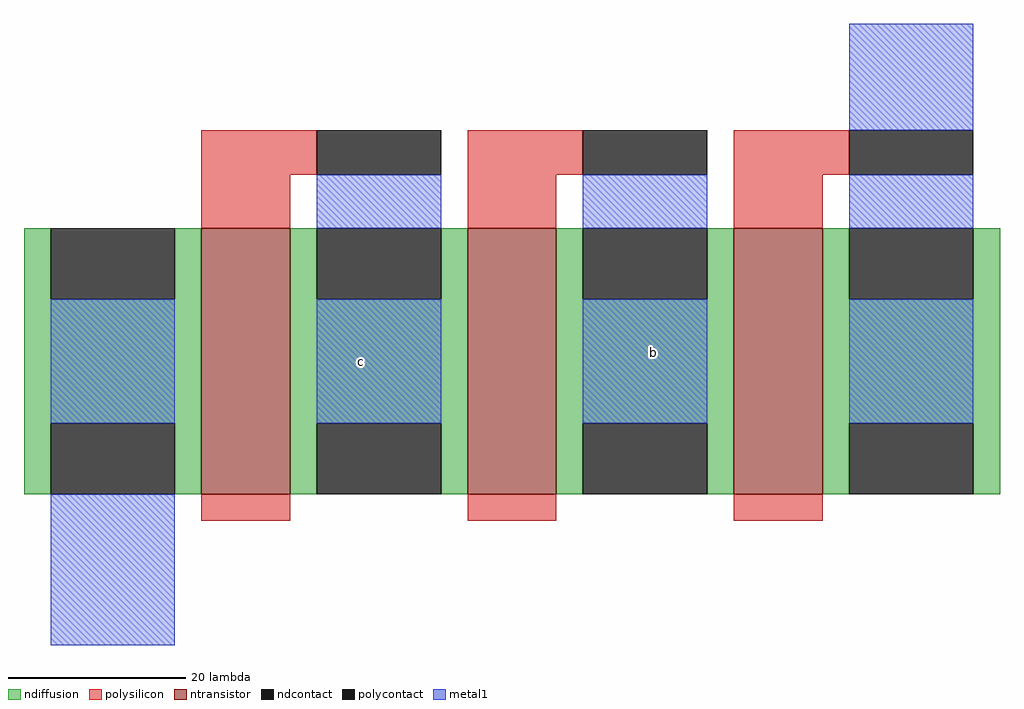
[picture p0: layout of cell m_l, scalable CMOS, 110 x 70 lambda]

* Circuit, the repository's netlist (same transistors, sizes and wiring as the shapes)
* SPICE3 file created from m_l.ext - technology: scmos

.option scale=0.1u

M1000 a_n417_n20# a_n417_n20# b w_n1073741817_n1073741817# nfet w=30 l=10
+  ad=600 pd=100 as=600 ps=100
M1001 b b c w_n1073741817_n1073741817# nfet w=30 l=10
+  ad=0 pd=0 as=600 ps=100
M1002 c c a_n497_n17# w_n1073741817_n1073741817# nfet w=30 l=10
+  ad=0 pd=0 as=600 ps=100

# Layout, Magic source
magic
tech scmos
<< ntransistor >>
rect -477 -17 -467 13
rect -447 -17 -437 13
rect -417 -17 -407 13
<< ndiffusion >>
rect -497 5 -494 13
rect -480 5 -477 13
rect -497 -9 -477 5
rect -497 -17 -494 -9
rect -480 -17 -477 -9
rect -467 5 -464 13
rect -450 5 -447 13
rect -467 -9 -447 5
rect -467 -17 -464 -9
rect -450 -17 -447 -9
rect -437 5 -434 13
rect -420 5 -417 13
rect -437 -9 -417 5
rect -437 -17 -434 -9
rect -420 -17 -417 -9
rect -407 5 -404 13
rect -390 5 -387 13
rect -407 -9 -387 5
rect -407 -17 -404 -9
rect -390 -17 -387 -9
<< ndcontact >>
rect -494 5 -480 13
rect -494 -17 -480 -9
rect -464 5 -450 13
rect -464 -17 -450 -9
rect -434 5 -420 13
rect -434 -17 -420 -9
rect -404 5 -390 13
rect -404 -17 -390 -9
<< polysilicon >>
rect -477 19 -464 24
rect -447 19 -434 24
rect -417 19 -404 24
rect -477 13 -467 19
rect -447 13 -437 19
rect -417 13 -407 19
rect -477 -20 -467 -17
rect -447 -20 -437 -17
rect -417 -20 -407 -17
<< polycontact >>
rect -464 19 -450 24
rect -434 19 -420 24
rect -404 19 -390 24
<< metal1 >>
rect -404 24 -390 36
rect -464 13 -450 19
rect -494 -9 -480 5
rect -464 -9 -450 5
rect -434 13 -420 19
rect -434 -9 -420 5
rect -404 13 -390 19
rect -404 -9 -390 5
rect -494 -34 -480 -17
<< labels >>
rlabel metal1 -426 -1 -426 -1 1 b
rlabel metal1 -459 -2 -459 -2 1 c
<< end >>
